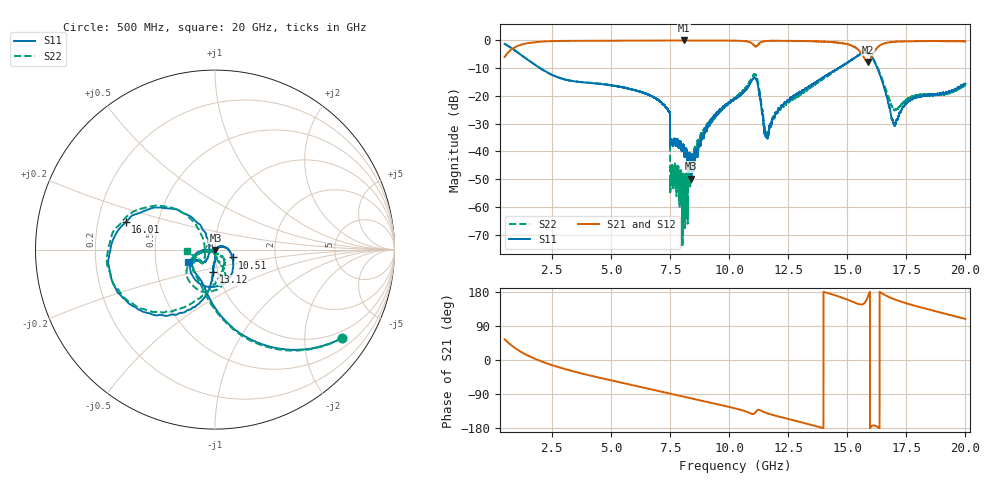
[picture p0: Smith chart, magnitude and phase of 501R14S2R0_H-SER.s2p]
!{501R14S2R0}
!Johanson Technology Inc.
!www.johansontechnology.com
!Test Board Conditions:
!Substrate Type  RO4350B
!Substrate Thickness  20 mil
!Substrate Dk  3.66
!TL Type: GCPW
!TL Trace Width  36 mil
!TL Gap  12 mil
!Electrode orientation  Horizontal
!DUT TOPOLOGY	SERIES
!Mounting Pad LxW  26x36 mil
! Created Wed Mar 11 15:57:02 2020
# mhz S ma R 50
! 2 Port Network Data from SP1.SP block
! freq  magS11  angS11  magS21  angS21  magS12  angS12  magS22  angS22
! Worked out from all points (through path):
!   19501 points, 500 MHz to 20 GHz, reference 50 ohm
!   highest |S21| = -0.07 dB at 8.079 GHz (marker M1); lowest = -7.9 dB at 15.88 GHz (marker M2)
!   group delay of S21, straight-line fit = 38.1 ps
!   lowest |S11| = -49.8 dB at 8.39 GHz (marker M3), VSWR 1.01, Z = 50.3 - j0.204 ohm
!   |S11| at or under -10 dB: 1.991 GHz to 14.64 GHz (12.64 GHz wide, 152 % of centre); 14.63629 GHz to 14.63726 GHz (977.4 kHz wide, 0.00668 % of centre); 16.27 GHz to end of sweep
!   |S22| runs from -74.2 to -1.3 dB; largest |S21 - S12| = 0.016
!   S11 on the Smith chart (normalised r, x): 500 MHz: 0.79, -3.01; 10.51 GHz: 1.21, -0.11; 13.12 GHz: 0.95, -0.24; 16.01 GHz: 0.32, +0.14; 20 GHz: 0.73, -0.10
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500  0.8621 -34.7  0.4993 54.7  0.5 54.8  0.861 -34.9
1717  0.3792 -84.1  0.9173 5.1  0.9184 5.1  0.3795 -84.9
3750  0.1759 -123.2  0.976 -35.3  0.9761 -35.4  0.1759 -128.3
7000  0.08483 -167.7  0.9875 -81.6  0.9882 -81.7  0.08448 -169.5
7403  0.0578 -169.2  0.9883 -87.3  0.9881 -87.3  0.05727 -173.5
7598  0.01439 -68.0  0.9896 -90.1  0.9898 -90.0  0.005532 35.9
8079  0.01279 -59.0  0.9916 -96.9  0.9896 -96.8  0.002557 -3.8
8390  0.00324 -38.8  0.9894 -101.1  0.988 -101.1  0.005318 -124.2
9002  0.02554 39.9  0.9878 -109.5  0.9859 -109.6  0.02406 -93.0
10250  0.08876 -10.8  0.9799 -127.7  0.9806 -127.5  0.09106 -67.0
10506  0.1071 -24.0  0.9736 -131.9  0.9756 -131.8  0.1114 -64.9
11130  0.2034 -119.7  0.769 -137.2  0.7718 -137.1  0.2354 -122.3
11586  0.01907 -122.2  0.9695 -139.9  0.9693 -139.9  0.02037 -108.2
13119  0.1263 -95.5  0.9681 -165.3  0.9702 -165.3  0.1165 -64.7
13500  0.1585 -95.5  0.9603 -171.5  0.9646 -171.5  0.1479 -77.4
15286  0.4696 -129.2  0.7664 152.4  0.7692 151.7  0.4801 -133.7
15877  0.5816 179.3  0.4042 167.9  0.4064 167.7  0.588 176.6
16008  0.5206 162.8  0.4806 -175.8  0.4822 -175.7  0.5289 160.4
16750  0.06957 122.8  0.9147 166.6  0.9132 166.9  0.09181 136.9
17024  0.02928 -174.2  0.9393 159.6  0.9419 159.7  0.05542 -179.3
17753  0.08655 -130.0  0.9591 145.1  0.9559 144.5  0.09634 -132.8
20000  0.164 -155.6  0.9571 108.2  0.9573 108.4  0.1576 -177.0
